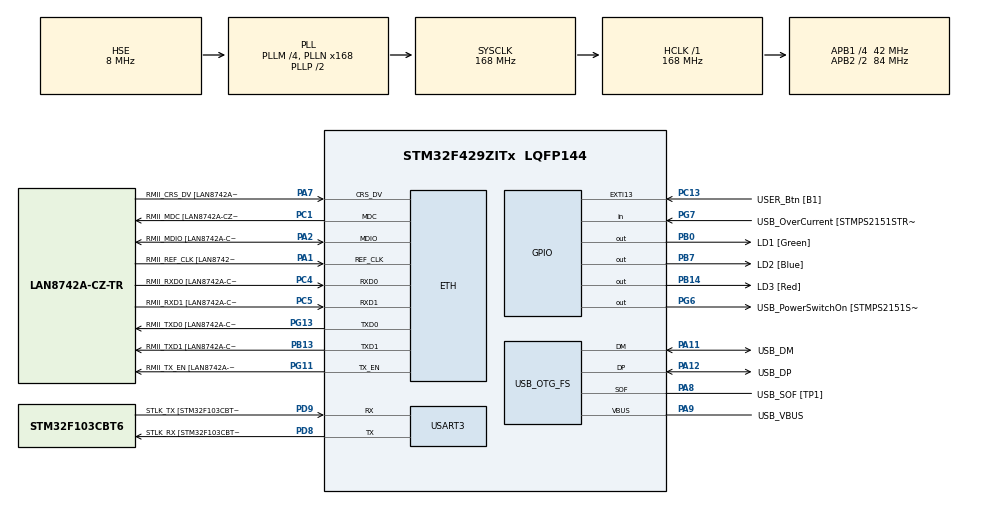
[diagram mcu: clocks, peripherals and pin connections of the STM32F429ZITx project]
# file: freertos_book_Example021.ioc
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ETH.MediaInterface=HAL_ETH_RMII_MODE
ETH.PHY_Name=LAN8742A_PHY_ADDRESS
ETH.PHY_Value=0
ETH.PhyAddress=0
FREERTOS.MEMORY_ALLOCATION=0
FREERTOS.Tasks01=defaultTask,0,128,StartDefaultTask,Default,NULL,Dynamic,NULL,NULL
FREERTOS.configUSE_NEWLIB_REENTRANT=1
FREERTOS.configUSE_TICK_HOOK=1
Mcu.Family=STM32F4
Mcu.Name=STM32F429ZITx
Mcu.Package=LQFP144
NVIC.PriorityGroup=NVIC_PRIORITYGROUP_4
NVIC.TIM7_IRQn=true\:15\:0\:false\:false\:true\:false\:false\:true\:true
NVIC.TimeBase=TIM7_IRQn
NVIC.TimeBaseIP=TIM7
PA1.GPIO_Label=RMII_REF_CLK [LAN8742A-CZ-TR_REFCLK0]
PA1.Mode=RMII
PA1.Signal=ETH_REF_CLK
PA10.GPIO_Label=USB_ID
PA10.Signal=USB_OTG_FS_ID
PA11.GPIO_Label=USB_DM
PA11.Mode=Device_Only
PA11.Signal=USB_OTG_FS_DM
PA12.GPIO_Label=USB_DP
PA12.Mode=Device_Only
PA12.Signal=USB_OTG_FS_DP
PA13.GPIO_Label=TMS
PA13.Mode=Serial_Wire
PA13.Signal=SYS_JTMS-SWDIO
PA14.GPIO_Label=TCK
PA14.Mode=Serial_Wire
PA14.Signal=SYS_JTCK-SWCLK
PA2.GPIO_Label=RMII_MDIO [LAN8742A-CZ-TR_MDIO]
PA2.Mode=RMII
PA2.Signal=ETH_MDIO
PA7.GPIO_Label=RMII_CRS_DV [LAN8742A-CZ-TR_CRS_DV]
PA7.Mode=RMII
PA7.Signal=ETH_CRS_DV
PA8.GPIO_Label=USB_SOF [TP1]
PA8.Mode=Activate_SOF_FS
PA8.Signal=USB_OTG_FS_SOF
PA9.GPIO_Label=USB_VBUS
PA9.Mode=Activate_VBUS
PA9.Signal=USB_OTG_FS_VBUS
PB0.GPIO_Label=LD1 [Green]
PB0.Signal=GPIO_Output
PB13.GPIO_Label=RMII_TXD1 [LAN8742A-CZ-TR_TXD1]
PB13.Mode=RMII
PB13.Signal=ETH_TXD1
PB14.GPIO_Label=LD3 [Red]
PB14.Signal=GPIO_Output
PB7.GPIO_Label=LD2 [Blue]
PB7.Signal=GPIO_Output
PC1.GPIO_Label=RMII_MDC [LAN8742A-CZ-TR_MDC]
PC1.Mode=RMII
PC1.Signal=ETH_MDC
PC13.GPIO_Label=USER_Btn [B1]
PC13.Signal=GPXTI13
PC14/OSC32_IN.Mode=LSE-External-Oscillator
PC14/OSC32_IN.Signal=RCC_OSC32_IN
PC15/OSC32_OUT.Mode=LSE-External-Oscillator
PC15/OSC32_OUT.Signal=RCC_OSC32_OUT
PC4.GPIO_Label=RMII_RXD0 [LAN8742A-CZ-TR_RXD0]
PC4.Mode=RMII
PC4.Signal=ETH_RXD0
PC5.GPIO_Label=RMII_RXD1 [LAN8742A-CZ-TR_RXD1]
PC5.Mode=RMII
PC5.Signal=ETH_RXD1
PD8.GPIO_Label=STLK_RX [STM32F103CBT6_PA3]
PD8.Mode=Asynchronous
PD8.Signal=USART3_TX
PD9.GPIO_Label=STLK_TX [STM32F103CBT6_PA2]
PD9.Mode=Asynchronous
PD9.Signal=USART3_RX
PG11.GPIO_Label=RMII_TX_EN [LAN8742A-CZ-TR_TXEN]
PG11.Mode=RMII
PG11.Signal=ETH_TX_EN
PG13.GPIO_Label=RMII_TXD0 [LAN8742A-CZ-TR_TXD0]
PG13.Mode=RMII
PG13.Signal=ETH_TXD0
PG6.GPIO_Label=USB_PowerSwitchOn [STMPS2151STR_EN]
PG6.Signal=GPIO_Output
PG7.GPIO_Label=USB_OverCurrent [STMPS2151STR_FAULT]
PG7.Signal=GPIO_Input
PH0/OSC_IN.GPIO_Label=MCO [STM32F103CBT6_PA8]
PH0/OSC_IN.Mode=HSE-External-Clock-Source
PH0/OSC_IN.Signal=RCC_OSC_IN
PH1/OSC_OUT.Mode=HSE-External-Clock-Source
PH1/OSC_OUT.Signal=RCC_OSC_OUT
ProjectManager.HeapSize=0x200
ProjectManager.StackSize=0x400
ProjectManager.TargetToolchain=STM32CubeIDE
RCC.48MHZClocksFreq_Value=48000000
RCC.AHBFreq_Value=168000000
RCC.APB1CLKDivider=RCC_HCLK_DIV4
RCC.APB1Freq_Value=42000000
RCC.APB1TimFreq_Value=84000000
RCC.APB2CLKDivider=RCC_HCLK_DIV2
RCC.APB2Freq_Value=84000000
RCC.APB2TimCLKDivider=2
RCC.APB2TimFreq_Value=168000000
RCC.CortexFreq_Value=168000000
RCC.HCLKFreq_Value=168000000
RCC.HSE_VALUE=8000000
RCC.HSI_VALUE=16000000
RCC.PLLM=4
RCC.PLLMUL=RCC_PLL_MUL9
RCC.PLLN=168
RCC.PLLQ=7
RCC.PRESCALERUSB=RCC_USBCLKSOURCE_PLL_DIV1_5
RCC.SYSCLKFreq_VALUE=168000000
RCC.SYSCLKSource=RCC_SYSCLKSOURCE_PLLCLK
RCC.SYSCLKSourceVirtual=RCC_SYSCLKSOURCE_PLLCLK
RCC.USBFreq_Value=48000000
RCC.VCOOutputFreq_Value=336000000
USART3.VirtualMode=VM_ASYNC
USB_OTG_FS.VirtualMode=Device_Only
VP_FREERTOS_VS_CMSIS_V1.Mode=CMSIS_V1
VP_SYS_VS_tim7.Mode=TIM7
board=NUCLEO-F429ZI

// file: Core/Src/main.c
/* USER CODE BEGIN Header */
/**
  ******************************************************************************
  * @file           : main.c
  * @brief          : Main program body
  ******************************************************************************
  * @attention
  *
  * Copyright (c) 2022 STMicroelectronics.
  * All rights reserved.
  *
  * This software is licensed under terms that can be found in the LICENSE file
  * in the root directory of this software component.
  * If no LICENSE file comes with this software, it is provided AS-IS.
  *
  ******************************************************************************
  */
/* USER CODE END Header */
#include "main.h"
#include "string.h"
#include "cmsis_os.h"

/* USER CODE BEGIN Includes */
/* Standard includes. */
#include <stdio.h>
#include <stdlib.h>

/* Demo includes. */
#include "supportingFunctions.h"

/* USER CODE END Includes */

ETH_TxPacketConfig TxConfig;
ETH_DMADescTypeDef  DMARxDscrTab[ETH_RX_DESC_CNT]; /* Ethernet Rx DMA Descriptors */
ETH_DMADescTypeDef  DMATxDscrTab[ETH_TX_DESC_CNT]; /* Ethernet Tx DMA Descriptors */

ETH_HandleTypeDef heth;

UART_HandleTypeDef huart3;

PCD_HandleTypeDef hpcd_USB_OTG_FS;

osThreadId defaultTaskHandle;
/* USER CODE BEGIN PV */
/* Define the strings that the tasks and interrupt will print out via the
gatekeeper. */
static const char *pcStringsToPrint[] =
{
	"Task 1 ****************************************************\r\n",
	"Task 2 ----------------------------------------------------\r\n",
	"Message printed from the tick hook interrupt ##############\r\n"
};

/* Declare a variable of type QueueHandle_t.  This is used to send messages from
the print tasks to the gatekeeper task. */
static QueueHandle_t PrintQueueHandle;

/* The tasks block for a pseudo random time between 0 and xMaxBlockTime ticks. */
const TickType_t xMaxBlockTimeTicks = 0x20;

/* USER CODE END PV */

void SystemClock_Config(void);
static void MX_GPIO_Init(void);
static void MX_ETH_Init(void);
static void MX_USART3_UART_Init(void);
static void MX_USB_OTG_FS_PCD_Init(void);
void StartDefaultTask(void const * argument);

/* USER CODE BEGIN PFP */
void prvPrintTask(void *pvParameters);
void prvStdioGatekeeperTask(void *pvParameters);

/* USER CODE END PFP */

int main(void)
{
  /* USER CODE BEGIN 1 */
	const char *pcTextForMain = "freertos_book_Example021 is running: Re-writing vPrintString() to use a gatekeeper task\r\n\n";

  /* USER CODE END 1 */

  /* MCU Configuration--------------------------------------------------------*/

  /* Reset of all peripherals, Initializes the Flash interface and the Systick. */
  HAL_Init();

  /* Configure the system clock */
  SystemClock_Config();

  /* Initialize all configured peripherals */
  MX_GPIO_Init();
  MX_ETH_Init();
  MX_USART3_UART_Init();
  MX_USB_OTG_FS_PCD_Init();
  /* USER CODE BEGIN 2 */
	/* Print out the name of this Example. */
	vPrintString( pcTextForMain );

  /* USER CODE END 2 */

  /* USER CODE BEGIN RTOS_QUEUES */
  /* add queues, ... */
    /* The queue is created to hold a maximum of 5 character pointers. */
    PrintQueueHandle = xQueueCreate( 5, sizeof( char * ) );

    /* Check the semaphore was created successfully */
    configASSERT( PrintQueueHandle != NULL );

  /* USER CODE END RTOS_QUEUES */

  /* Create the thread(s) */
  /* definition and creation of defaultTask */
  osThreadDef(defaultTask, StartDefaultTask, osPriorityNormal, 0, 128);
  defaultTaskHandle = osThreadCreate(osThread(defaultTask), NULL);

  /* USER CODE BEGIN RTOS_THREADS */
  /* add threads, ... */
	BaseType_t ret;

	/* Print 1 thread at priority 1 */
	ret = xTaskCreate( prvPrintTask,				/* Pointer to the function thats implement the task. */
					   "Print 1",					/* Text name for the task. This is to facilitate debugging only. */
					   (4 * configMINIMAL_STACK_SIZE),	/* Stack depth in words. 				*/
					   ( void * ) 0,				/* Pass the value to be used in as the task parameter.	*/
					   (tskIDLE_PRIORITY + 1UL),	/* This task will run at priority 1. 		*/
		               NULL );          	        /* We are not using the task handle. */

	/* Check the task was created successfully. */
	configASSERT( ret == pdPASS );

	/* Print 2 thread at priority 2 */
	ret = xTaskCreate( prvPrintTask,				/* Pointer to the function thats implement the task. */
					   "Print 2",					/* Text name for the task. This is to facilitate debugging only. */
					   (4 * configMINIMAL_STACK_SIZE),	/* Stack depth in words. 				*/
					   ( void * ) 1,				/* Pass the value to be used in as the task parameter.	*/
					   (tskIDLE_PRIORITY + 2UL),	/* This task will run at priority 2. 		*/
		               NULL );          	        /* We are not using the task handle. */

	/* Check the task was created successfully. */
	configASSERT( ret == pdPASS );

	/* Gatekeeper thread at priority 1 */
	ret = xTaskCreate( prvStdioGatekeeperTask,		/* Pointer to the function thats implement the task. */
					   "Gatekeeper",				/* Text name for the task. This is to facilitate debugging only. */
					   (4 * configMINIMAL_STACK_SIZE),	/* Stack depth in words. 				*/
					   NULL,						/* We are not using the task parameter.		*/
					   (tskIDLE_PRIORITY),			/* This task will run at priority 0. 		*/
		               NULL );          	        /* We are not using the task handle. */

	/* Check the task was created successfully. */
	configASSERT( ret == pdPASS );

  /* USER CODE END RTOS_THREADS */

  /* Start scheduler */
  osKernelStart();

  /* We should never get here as control is now taken by the scheduler */
  /* Infinite loop */
  while (1)
  {

  }
}

void SystemClock_Config(void)
{
  RCC_OscInitTypeDef RCC_OscInitStruct = {0};
  RCC_ClkInitTypeDef RCC_ClkInitStruct = {0};

  /** Configure the main internal regulator output voltage
  */
  __HAL_RCC_PWR_CLK_ENABLE();
  __HAL_PWR_VOLTAGESCALING_CONFIG(PWR_REGULATOR_VOLTAGE_SCALE1);

  /** Initializes the RCC Oscillators according to the specified parameters
  * in the RCC_OscInitTypeDef structure.
  */
  RCC_OscInitStruct.OscillatorType = RCC_OSCILLATORTYPE_HSE;
  RCC_OscInitStruct.HSEState = RCC_HSE_BYPASS;
  RCC_OscInitStruct.PLL.PLLState = RCC_PLL_ON;
  RCC_OscInitStruct.PLL.PLLSource = RCC_PLLSOURCE_HSE;
  RCC_OscInitStruct.PLL.PLLM = 4;
  RCC_OscInitStruct.PLL.PLLN = 168;
  RCC_OscInitStruct.PLL.PLLP = RCC_PLLP_DIV2;
  RCC_OscInitStruct.PLL.PLLQ = 7;
  if (HAL_RCC_OscConfig(&RCC_OscInitStruct) != HAL_OK)
  {
    Error_Handler();
  }

  /** Initializes the CPU, AHB and APB buses clocks
  */
  RCC_ClkInitStruct.ClockType = RCC_CLOCKTYPE_HCLK|RCC_CLOCKTYPE_SYSCLK
                              |RCC_CLOCKTYPE_PCLK1|RCC_CLOCKTYPE_PCLK2;
  RCC_ClkInitStruct.SYSCLKSource = RCC_SYSCLKSOURCE_PLLCLK;
  RCC_ClkInitStruct.AHBCLKDivider = RCC_SYSCLK_DIV1;
  RCC_ClkInitStruct.APB1CLKDivider = RCC_HCLK_DIV4;
  RCC_ClkInitStruct.APB2CLKDivider = RCC_HCLK_DIV2;

  if (HAL_RCC_ClockConfig(&RCC_ClkInitStruct, FLASH_LATENCY_5) != HAL_OK)
  {
    Error_Handler();
  }
}

static void MX_ETH_Init(void)
{

   static uint8_t MACAddr[6];

  heth.Instance = ETH;
  MACAddr[0] = 0x00;
  MACAddr[1] = 0x80;
  MACAddr[2] = 0xE1;
  MACAddr[3] = 0x00;
  MACAddr[4] = 0x00;
  MACAddr[5] = 0x00;
  heth.Init.MACAddr = &MACAddr[0];
  heth.Init.MediaInterface = HAL_ETH_RMII_MODE;
  heth.Init.TxDesc = DMATxDscrTab;
  heth.Init.RxDesc = DMARxDscrTab;
  heth.Init.RxBuffLen = 1524;

  if (HAL_ETH_Init(&heth) != HAL_OK)
  {
    Error_Handler();
  }

  memset(&TxConfig, 0 , sizeof(ETH_TxPacketConfig));
  TxConfig.Attributes = ETH_TX_PACKETS_FEATURES_CSUM | ETH_TX_PACKETS_FEATURES_CRCPAD;
  TxConfig.ChecksumCtrl = ETH_CHECKSUM_IPHDR_PAYLOAD_INSERT_PHDR_CALC;
  TxConfig.CRCPadCtrl = ETH_CRC_PAD_INSERT;

}

static void MX_USART3_UART_Init(void)
{

  huart3.Instance = USART3;
  huart3.Init.BaudRate = 115200;
  huart3.Init.WordLength = UART_WORDLENGTH_8B;
  huart3.Init.StopBits = UART_STOPBITS_1;
  huart3.Init.Parity = UART_PARITY_NONE;
  huart3.Init.Mode = UART_MODE_TX_RX;
  huart3.Init.HwFlowCtl = UART_HWCONTROL_NONE;
  huart3.Init.OverSampling = UART_OVERSAMPLING_16;
  if (HAL_UART_Init(&huart3) != HAL_OK)
  {
    Error_Handler();
  }

}

static void MX_USB_OTG_FS_PCD_Init(void)
{

  hpcd_USB_OTG_FS.Instance = USB_OTG_FS;
  hpcd_USB_OTG_FS.Init.dev_endpoints = 4;
  hpcd_USB_OTG_FS.Init.speed = PCD_SPEED_FULL;
  hpcd_USB_OTG_FS.Init.dma_enable = DISABLE;
  hpcd_USB_OTG_FS.Init.phy_itface = PCD_PHY_EMBEDDED;
  hpcd_USB_OTG_FS.Init.Sof_enable = ENABLE;
  hpcd_USB_OTG_FS.Init.low_power_enable = DISABLE;
  hpcd_USB_OTG_FS.Init.lpm_enable = DISABLE;
  hpcd_USB_OTG_FS.Init.vbus_sensing_enable = ENABLE;
  hpcd_USB_OTG_FS.Init.use_dedicated_ep1 = DISABLE;
  if (HAL_PCD_Init(&hpcd_USB_OTG_FS) != HAL_OK)
  {
    Error_Handler();
  }

}

static void MX_GPIO_Init(void)
{
  GPIO_InitTypeDef GPIO_InitStruct = {0};

  /* GPIO Ports Clock Enable */
  __HAL_RCC_GPIOC_CLK_ENABLE();
  __HAL_RCC_GPIOH_CLK_ENABLE();
  __HAL_RCC_GPIOA_CLK_ENABLE();
  __HAL_RCC_GPIOB_CLK_ENABLE();
  __HAL_RCC_GPIOD_CLK_ENABLE();
  __HAL_RCC_GPIOG_CLK_ENABLE();

  /*Configure GPIO pin Output Level */
  HAL_GPIO_WritePin(GPIOB, LD1_Pin|LD3_Pin|LD2_Pin, GPIO_PIN_RESET);

  /*Configure GPIO pin Output Level */
  HAL_GPIO_WritePin(USB_PowerSwitchOn_GPIO_Port, USB_PowerSwitchOn_Pin, GPIO_PIN_RESET);

  /*Configure GPIO pin : USER_Btn_Pin */
  GPIO_InitStruct.Pin = USER_Btn_Pin;
  GPIO_InitStruct.Mode = GPIO_MODE_IT_RISING;
  GPIO_InitStruct.Pull = GPIO_NOPULL;
  HAL_GPIO_Init(USER_Btn_GPIO_Port, &GPIO_InitStruct);

  /*Configure GPIO pins : LD1_Pin LD3_Pin LD2_Pin */
  GPIO_InitStruct.Pin = LD1_Pin|LD3_Pin|LD2_Pin;
  GPIO_InitStruct.Mode = GPIO_MODE_OUTPUT_PP;
  GPIO_InitStruct.Pull = GPIO_NOPULL;
  GPIO_InitStruct.Speed = GPIO_SPEED_FREQ_LOW;
  HAL_GPIO_Init(GPIOB, &GPIO_InitStruct);

  /*Configure GPIO pin : USB_PowerSwitchOn_Pin */
  GPIO_InitStruct.Pin = USB_PowerSwitchOn_Pin;
  GPIO_InitStruct.Mode = GPIO_MODE_OUTPUT_PP;
  GPIO_InitStruct.Pull = GPIO_NOPULL;
  GPIO_InitStruct.Speed = GPIO_SPEED_FREQ_LOW;
  HAL_GPIO_Init(USB_PowerSwitchOn_GPIO_Port, &GPIO_InitStruct);

  /*Configure GPIO pin : USB_OverCurrent_Pin */
  GPIO_InitStruct.Pin = USB_OverCurrent_Pin;
  GPIO_InitStruct.Mode = GPIO_MODE_INPUT;
  GPIO_InitStruct.Pull = GPIO_NOPULL;
  HAL_GPIO_Init(USB_OverCurrent_GPIO_Port, &GPIO_InitStruct);

}

/* USER CODE BEGIN 4 */
void vApplicationTickHook( void )
{
static int iCount = 0;

	/* Print out a message every 200 ticks.  The message is not written out
	directly, but sent to the gatekeeper task. */
	iCount++;
	if( iCount >= 200 )
	{
		/* In this case the last parameter (xHigherPriorityTaskWoken) is not
		actually used and is set to NULL. */
		xQueueSendToFrontFromISR( PrintQueueHandle, &( pcStringsToPrint[ 2 ] ), NULL );

		/* Reset the count ready to print out the string again in 200 ticks
		time. */
		iCount = 0;
	}
}

/* USER CODE BEGIN Header_prvPrintTask */
/**
  * @brief  Function implementing the Print1 thread.
  * @param  argument: Not used
  * @retval None
  */
/* USER CODE END Header_prvPrintTask */
void prvPrintTask( void *pvParameters )
{
	int iIndexToString;

	/* Two instances of this task are created so the index to the string the task
	   will send to the gatekeeper task is passed in the task parameter.  Cast this
	   to the required type. */
	iIndexToString = ( int ) pvParameters;

	for( ;; )
	{
		/* Print out the string, not directly but by passing the string to the
		   gatekeeper task on the queue.  The queue is created before the scheduler is
		   started so will already exist by the time this task executes.  A block time
		   is not specified as there should always be space in the queue. */
		xQueueSendToBack( PrintQueueHandle, &( pcStringsToPrint[ iIndexToString ] ), 0 );

		/* Wait a pseudo random time.  Note that rand() is not necessarily
		   re-entrant, but in this case it does not really matter as the code does
		   not care what value is returned.  In a more secure application a version
		   of rand() that is known to be re-entrant should be used - or calls to
		   rand() should be protected using a critical section. */
		vTaskDelay( ( rand() % xMaxBlockTimeTicks ) );
	}
}

/* USER CODE BEGIN Header_prvStdioGatekeeperTask */
/**
* @brief Function implementing the Gatekeeper thread.
* @param argument: Not used
* @retval None
*/
/* USER CODE END Header_prvStdioGatekeeperTask */
void prvStdioGatekeeperTask( void *pvParameters )
{
	char *pcMessageToPrint;

	/* This is the only task that is allowed to write to the terminal output.
	   Any other task wanting to write to the output does not access the terminal
	   directly, but instead sends the output to this task.  As only one task
	   writes to standard out there are no mutual exclusion or serialization issues
	   to consider within this task itself. */
	for( ;; )
	{
		/* Wait for a message to arrive. */
		xQueueReceive( PrintQueueHandle, &pcMessageToPrint, portMAX_DELAY );

		/* There is no need to check the return	value as the task will block
		   indefinitely and only run again when a message has arrived.  When the
		   next line is executed there will be a message to be output. */
		printf( "%s", pcMessageToPrint );
		fflush( stdout );

		/* Now simply go back to wait for the next message. */
	}
}

/* USER CODE END 4 */

void StartDefaultTask(void const * argument)
{
  /* USER CODE BEGIN 5 */
  /* Infinite loop */
  for(;;)
  {
    osDelay(50000);
  }
  /* USER CODE END 5 */
}

void HAL_TIM_PeriodElapsedCallback(TIM_HandleTypeDef *htim)
{
  if (htim->Instance == TIM7) {
    HAL_IncTick();
  }
}

void Error_Handler(void)
{
  __disable_irq();
  while (1)
  {
  }
}

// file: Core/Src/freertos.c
/* USER CODE BEGIN Header */
/**
  ******************************************************************************
  * File Name          : freertos.c
  * Description        : Code for freertos applications
  ******************************************************************************
  * @attention
  *
  * Copyright (c) 2022 STMicroelectronics.
  * All rights reserved.
  *
  * This software is licensed under terms that can be found in the LICENSE file
  * in the root directory of this software component.
  * If no LICENSE file comes with this software, it is provided AS-IS.
  *
  ******************************************************************************
  */
/* USER CODE END Header */

#include "FreeRTOS.h"
#include "task.h"
#include "main.h"

/* Hook prototypes */
void vApplicationTickHook(void);

/* USER CODE BEGIN 3 */
__weak void vApplicationTickHook( void )
{
   /* This function will be called by each tick interrupt if
   configUSE_TICK_HOOK is set to 1 in FreeRTOSConfig.h. User code can be
   added here, but the tick hook is called from an interrupt context, so
   code must not attempt to block, and only the interrupt safe FreeRTOS API
   functions can be used (those that end in FromISR()). */
}
/* USER CODE END 3 */
